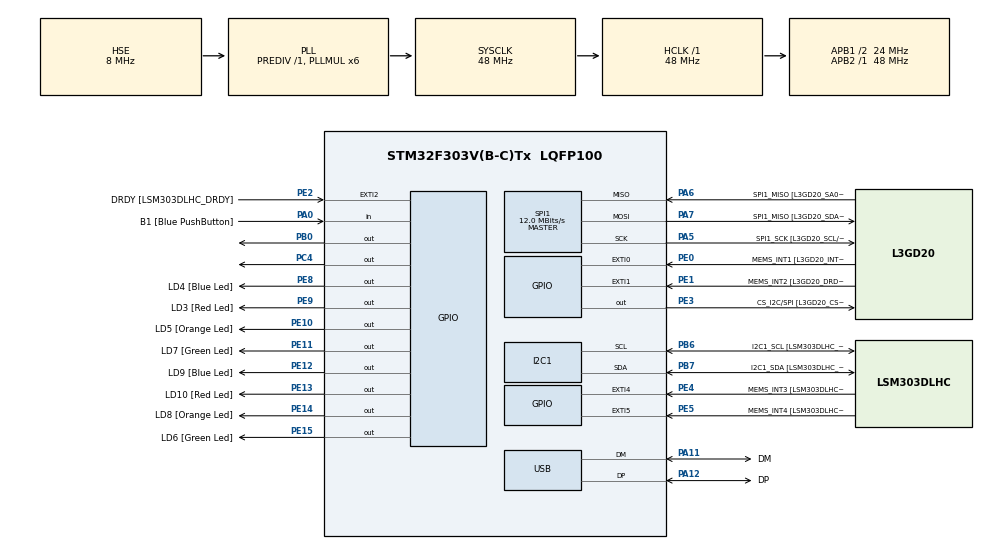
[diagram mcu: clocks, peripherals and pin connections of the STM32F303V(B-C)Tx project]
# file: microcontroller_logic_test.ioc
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I2C1.Timing=0x2000090E
I2C1.Timing-I2C=0x2000090E
Mcu.Family=STM32F3
Mcu.Name=STM32F303V(B-C)Tx
Mcu.Package=LQFP100
NVIC.PriorityGroup=NVIC_PRIORITYGROUP_0
NVIC.USB_LP_CAN_RX0_IRQn=true\:0\:0\:false\:false\:true\:false\:true\:true
PA0.GPIO_Label=B1 [Blue PushButton]
PA0.Signal=GPIO_Input
PA11.GPIO_Label=DM
PA11.Mode=Device
PA11.Signal=USB_DM
PA12.GPIO_Label=DP
PA12.Mode=Device
PA12.Signal=USB_DP
PA13.GPIO_Label=SWDIO
PA13.Mode=Serial_Wire
PA13.Signal=SYS_JTMS-SWDIO
PA14.GPIO_Label=SWCLK
PA14.Mode=Serial_Wire
PA14.Signal=SYS_JTCK-SWCLK
PA5.GPIO_Label=SPI1_SCK [L3GD20_SCL/SPC]
PA5.Mode=Full_Duplex_Master
PA5.Signal=SPI1_SCK
PA6.GPIO_Label=SPI1_MISO [L3GD20_SA0/SDO]
PA6.Mode=Full_Duplex_Master
PA6.Signal=SPI1_MISO
PA7.GPIO_Label=SPI1_MISO [L3GD20_SDA/SDI/SDO]
PA7.Mode=Full_Duplex_Master
PA7.Signal=SPI1_MOSI
PB0.Signal=GPIO_Output
PB3.GPIO_Label=SWO
PB3.Signal=SYS_JTDO-TRACESWO
PB6.GPIO_Label=I2C1_SCL [LSM303DLHC_SCL]
PB6.GPIO_Pu=GPIO_PULLUP
PB6.Mode=I2C
PB6.Signal=I2C1_SCL
PB7.GPIO_Label=I2C1_SDA [LSM303DLHC_SDA]
PB7.GPIO_Pu=GPIO_PULLUP
PB7.Mode=I2C
PB7.Signal=I2C1_SDA
PC14-OSC32_IN.GPIO_Label=OSC32_IN
PC14-OSC32_IN.Signal=RCC_OSC32_IN
PC15-OSC32_OUT.GPIO_Label=OSC32_OUT
PC15-OSC32_OUT.Signal=RCC_OSC32_OUT
PC4.Signal=GPIO_Output
PE0.GPIO_Label=MEMS_INT1 [L3GD20_INT1]
PE0.GPIO_ModeDefaultEXTI=GPIO_MODE_EVT_RISING
PE0.Signal=GPXTI0
PE1.GPIO_Label=MEMS_INT2 [L3GD20_DRDY/INT2]
PE1.GPIO_ModeDefaultEXTI=GPIO_MODE_EVT_RISING
PE1.Signal=GPXTI1
PE10.GPIO_Label=LD5 [Orange Led]
PE10.Signal=GPIO_Output
PE11.GPIO_Label=LD7 [Green Led]
PE11.Signal=GPIO_Output
PE12.GPIO_Label=LD9 [Blue Led]
PE12.Signal=GPIO_Output
PE13.GPIO_Label=LD10 [Red Led]
PE13.Signal=GPIO_Output
PE14.GPIO_Label=LD8 [Orange Led]
PE14.Signal=GPIO_Output
PE15.GPIO_Label=LD6 [Green Led]
PE15.Signal=GPIO_Output
PE2.GPIO_Label=DRDY [LSM303DLHC_DRDY]
PE2.GPIO_ModeDefaultEXTI=GPIO_MODE_EVT_RISING
PE2.Signal=GPXTI2
PE3.GPIO_Label=CS_I2C/SPI [L3GD20_CS_I2C/SPI]
PE3.Signal=GPIO_Output
PE4.GPIO_Label=MEMS_INT3 [LSM303DLHC_INT1]
PE4.GPIO_ModeDefaultEXTI=GPIO_MODE_EVT_RISING
PE4.Signal=GPXTI4
PE5.GPIO_Label=MEMS_INT4 [LSM303DLHC_INT2]
PE5.GPIO_ModeDefaultEXTI=GPIO_MODE_EVT_RISING
PE5.Signal=GPXTI5
PE8.GPIO_Label=LD4 [Blue Led]
PE8.Signal=GPIO_Output
PE9.GPIO_Label=LD3 [Red Led]
PE9.Signal=GPIO_Output
PF0-OSC_IN.GPIO_Label=OSC_IN
PF0-OSC_IN.Mode=HSE-External-Clock-Source
PF0-OSC_IN.Signal=RCC_OSC_IN
PF1-OSC_OUT.GPIO_Label=OSC_OUT
PF1-OSC_OUT.Signal=RCC_OSC_OUT
ProjectManager.HeapSize=0x200
ProjectManager.StackSize=0x400
ProjectManager.TargetToolchain=STM32CubeIDE
RCC.AHBFreq_Value=48000000
RCC.APB1CLKDivider=RCC_HCLK_DIV2
RCC.APB1Freq_Value=24000000
RCC.APB1TimFreq_Value=48000000
RCC.APB2Freq_Value=48000000
RCC.APB2TimFreq_Value=48000000
RCC.CortexFreq_Value=48000000
RCC.HCLKFreq_Value=48000000
RCC.HSE_VALUE=8000000
RCC.HSI_VALUE=8000000
RCC.LSE_VALUE=32768
RCC.PLLMUL=RCC_PLL_MUL6
RCC.SYSCLKFreq_VALUE=48000000
RCC.SYSCLKSourceVirtual=RCC_SYSCLKSOURCE_PLLCLK
RCC.USBFreq_Value=48000000
SPI1.BaudRatePrescaler=SPI_BAUDRATEPRESCALER_4
SPI1.BaudRatePrescaler-Full_Duplex_Master=SPI_BAUDRATEPRESCALER_2
SPI1.CalculateBaudRate=12.0 MBits/s
SPI1.CalculateBaudRate-Full_Duplex_Master=24.0 MBits/s
SPI1.Direction=SPI_DIRECTION_2LINES
SPI1.Mode=SPI_MODE_MASTER
SPI1.Mode-Full_Duplex_Master=SPI_MODE_MASTER
SPI1.VirtualType=VM_MASTER
USB_DEVICE.CLASS_NAME_FS=CDC
USB_DEVICE.VirtualMode=Cdc
USB_DEVICE.VirtualModeFS=Cdc_FS
VP_USB_DEVICE_VS_USB_DEVICE_CDC_FS.Mode=CDC_FS
board=STM32F3DISCOVERY

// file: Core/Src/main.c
/* USER CODE BEGIN Header */
/**
  ******************************************************************************
  * @file           : main.c
  * @brief          : Main program body
  ******************************************************************************
  * @attention
  *
  * Copyright (c) 2025 STMicroelectronics.
  * All rights reserved.
  *
  * This software is licensed under terms that can be found in the LICENSE file
  * in the root directory of this software component.
  * If no LICENSE file comes with this software, it is provided AS-IS.
  *
  ******************************************************************************
  */
/* USER CODE END Header */
#include "main.h"
#include "usb_device.h"

/* USER CODE BEGIN Includes */
#include "arm_fft.h"
#include "usbd_cdc_if.h"
/* USER CODE END Includes */

I2C_HandleTypeDef hi2c1;

SPI_HandleTypeDef hspi1;

/* USER CODE BEGIN PV */
extern uint8_t rx_buffer[128*105];
extern volatile uint8_t rx_complete;
extern volatile uint8_t metadati_completi;
/* USER CODE END PV */

void SystemClock_Config(void);
static void MX_GPIO_Init(void);
static void MX_I2C1_Init(void);
static void MX_SPI1_Init(void);

int main(void)
{

  /* MCU Configuration--------------------------------------------------------*/

  /* Reset of all peripherals, Initializes the Flash interface and the Systick. */
  HAL_Init();

  /* Configure the system clock */
  SystemClock_Config();

  /* Initialize all configured peripherals */
  MX_GPIO_Init();
  MX_I2C1_Init();
  MX_SPI1_Init();
  MX_USB_DEVICE_Init();
  /* USER CODE BEGIN 2 */

//  Complesso x[256][210];
//  uint8_t data[210][256];
//  Complesso X[256];
//  uint8_t metadati[8];
  uint8_t indici[128];
//  float magnitude[256];
  int32_t massimo = 0;
  int32_t minimo = 0;

  // led rosso che lampeggia -> Microcontrollore sta ricevendo i metdati
  while(metadati_completi == 0){
	  HAL_GPIO_WritePin(GPIOB, GPIO_PIN_0, GPIO_PIN_SET);
	  HAL_Delay(100);
	  HAL_GPIO_WritePin(GPIOB, GPIO_PIN_0, GPIO_PIN_RESET);
	  HAL_Delay(100);
  }

  // ottenimento informazioni massimo e minimo
  massimo = (int32_t)(rx_buffer[0] | rx_buffer[1]<<8 | rx_buffer[2]<<16 | rx_buffer[3]<<24);
  minimo = (int32_t)(rx_buffer[4] | rx_buffer[5]<<8 | rx_buffer[6]<<16 | rx_buffer[7]<<24);
  // led rosso fisso -> ricezione metadati avvenuta
  HAL_GPIO_WritePin(GPIOB, GPIO_PIN_0, GPIO_PIN_SET);

  // led blu che lampeggia -> Microcontrollore sta ricevendo i dati
	while(rx_complete == 0){
	  HAL_GPIO_WritePin(GPIOC, GPIO_PIN_4, GPIO_PIN_SET);
	  HAL_Delay(100);
	  HAL_GPIO_WritePin(GPIOC, GPIO_PIN_4, GPIO_PIN_RESET);
	  HAL_Delay(100);
	}
	HAL_GPIO_WritePin(GPIOC, GPIO_PIN_4, GPIO_PIN_SET);
	HAL_Delay(1000);

//	int k=0;
//	for(int i=0; i<210; i++){
//		for(int j=0; j<256; j++){
//			data[i][j] = rx_buffer[k]
//		}
//	}

	for(int j=0; j<105; j++){
		Complesso x[128];
		Complesso X[128];
		float magnitude[128];
		for(int i=0; i<128; i++){
			x[i].re = (float)(((rx_buffer[j*128+i]/255.0f) * (massimo-minimo)) + minimo);
			x[i].im = 0;
		}
		arm_fft(x,X,128);
		fft_to_spectrogram(X,magnitude, 128, -65.0f);
		for(int l=0; l<128; l++){
		  indici[l] = (uint8_t)(magnitude[l]*255);
		}
		CDC_Transmit_FS(indici, 128);
	}

  /* USER CODE END 2 */

  /* Infinite loop */
  while (1)
  {

    /* USER CODE BEGIN 3 */
	  HAL_GPIO_WritePin(GPIOB, GPIO_PIN_0, GPIO_PIN_SET);
	  HAL_GPIO_WritePin(GPIOC, GPIO_PIN_4, GPIO_PIN_SET);
	  HAL_Delay(1000);
	  HAL_GPIO_WritePin(GPIOB, GPIO_PIN_0, GPIO_PIN_RESET);
	  HAL_GPIO_WritePin(GPIOC, GPIO_PIN_4, GPIO_PIN_RESET);
	  HAL_Delay(1000);
  }
  /* USER CODE END 3 */
}

void SystemClock_Config(void)
{
  RCC_OscInitTypeDef RCC_OscInitStruct = {0};
  RCC_ClkInitTypeDef RCC_ClkInitStruct = {0};
  RCC_PeriphCLKInitTypeDef PeriphClkInit = {0};

  /** Initializes the RCC Oscillators according to the specified parameters
  * in the RCC_OscInitTypeDef structure.
  */
  RCC_OscInitStruct.OscillatorType = RCC_OSCILLATORTYPE_HSI|RCC_OSCILLATORTYPE_HSE;
  RCC_OscInitStruct.HSEState = RCC_HSE_BYPASS;
  RCC_OscInitStruct.HSEPredivValue = RCC_HSE_PREDIV_DIV1;
  RCC_OscInitStruct.HSIState = RCC_HSI_ON;
  RCC_OscInitStruct.HSICalibrationValue = RCC_HSICALIBRATION_DEFAULT;
  RCC_OscInitStruct.PLL.PLLState = RCC_PLL_ON;
  RCC_OscInitStruct.PLL.PLLSource = RCC_PLLSOURCE_HSE;
  RCC_OscInitStruct.PLL.PLLMUL = RCC_PLL_MUL6;
  if (HAL_RCC_OscConfig(&RCC_OscInitStruct) != HAL_OK)
  {
    Error_Handler();
  }

  /** Initializes the CPU, AHB and APB buses clocks
  */
  RCC_ClkInitStruct.ClockType = RCC_CLOCKTYPE_HCLK|RCC_CLOCKTYPE_SYSCLK
                              |RCC_CLOCKTYPE_PCLK1|RCC_CLOCKTYPE_PCLK2;
  RCC_ClkInitStruct.SYSCLKSource = RCC_SYSCLKSOURCE_PLLCLK;
  RCC_ClkInitStruct.AHBCLKDivider = RCC_SYSCLK_DIV1;
  RCC_ClkInitStruct.APB1CLKDivider = RCC_HCLK_DIV2;
  RCC_ClkInitStruct.APB2CLKDivider = RCC_HCLK_DIV1;

  if (HAL_RCC_ClockConfig(&RCC_ClkInitStruct, FLASH_LATENCY_1) != HAL_OK)
  {
    Error_Handler();
  }
  PeriphClkInit.PeriphClockSelection = RCC_PERIPHCLK_USB|RCC_PERIPHCLK_I2C1;
  PeriphClkInit.I2c1ClockSelection = RCC_I2C1CLKSOURCE_HSI;
  PeriphClkInit.USBClockSelection = RCC_USBCLKSOURCE_PLL;
  if (HAL_RCCEx_PeriphCLKConfig(&PeriphClkInit) != HAL_OK)
  {
    Error_Handler();
  }
}

static void MX_I2C1_Init(void)
{

  hi2c1.Instance = I2C1;
  hi2c1.Init.Timing = 0x2000090E;
  hi2c1.Init.OwnAddress1 = 0;
  hi2c1.Init.AddressingMode = I2C_ADDRESSINGMODE_7BIT;
  hi2c1.Init.DualAddressMode = I2C_DUALADDRESS_DISABLE;
  hi2c1.Init.OwnAddress2 = 0;
  hi2c1.Init.OwnAddress2Masks = I2C_OA2_NOMASK;
  hi2c1.Init.GeneralCallMode = I2C_GENERALCALL_DISABLE;
  hi2c1.Init.NoStretchMode = I2C_NOSTRETCH_DISABLE;
  if (HAL_I2C_Init(&hi2c1) != HAL_OK)
  {
    Error_Handler();
  }

  /** Configure Analogue filter
  */
  if (HAL_I2CEx_ConfigAnalogFilter(&hi2c1, I2C_ANALOGFILTER_ENABLE) != HAL_OK)
  {
    Error_Handler();
  }

  /** Configure Digital filter
  */
  if (HAL_I2CEx_ConfigDigitalFilter(&hi2c1, 0) != HAL_OK)
  {
    Error_Handler();
  }

}

static void MX_SPI1_Init(void)
{

  /* SPI1 parameter configuration*/
  hspi1.Instance = SPI1;
  hspi1.Init.Mode = SPI_MODE_MASTER;
  hspi1.Init.Direction = SPI_DIRECTION_2LINES;
  hspi1.Init.DataSize = SPI_DATASIZE_4BIT;
  hspi1.Init.CLKPolarity = SPI_POLARITY_LOW;
  hspi1.Init.CLKPhase = SPI_PHASE_1EDGE;
  hspi1.Init.NSS = SPI_NSS_SOFT;
  hspi1.Init.BaudRatePrescaler = SPI_BAUDRATEPRESCALER_4;
  hspi1.Init.FirstBit = SPI_FIRSTBIT_MSB;
  hspi1.Init.TIMode = SPI_TIMODE_DISABLE;
  hspi1.Init.CRCCalculation = SPI_CRCCALCULATION_DISABLE;
  hspi1.Init.CRCPolynomial = 7;
  hspi1.Init.CRCLength = SPI_CRC_LENGTH_DATASIZE;
  hspi1.Init.NSSPMode = SPI_NSS_PULSE_ENABLE;
  if (HAL_SPI_Init(&hspi1) != HAL_OK)
  {
    Error_Handler();
  }

}

static void MX_GPIO_Init(void)
{
  GPIO_InitTypeDef GPIO_InitStruct = {0};

  /* GPIO Ports Clock Enable */
  __HAL_RCC_GPIOE_CLK_ENABLE();
  __HAL_RCC_GPIOC_CLK_ENABLE();
  __HAL_RCC_GPIOF_CLK_ENABLE();
  __HAL_RCC_GPIOA_CLK_ENABLE();
  __HAL_RCC_GPIOB_CLK_ENABLE();

  /*Configure GPIO pin Output Level */
  HAL_GPIO_WritePin(GPIOE, CS_I2C_SPI_Pin|LD4_Pin|LD3_Pin|LD5_Pin
                          |LD7_Pin|LD9_Pin|LD10_Pin|LD8_Pin
                          |LD6_Pin, GPIO_PIN_RESET);

  /*Configure GPIO pin Output Level */
  HAL_GPIO_WritePin(GPIOC, GPIO_PIN_4, GPIO_PIN_RESET);

  /*Configure GPIO pin Output Level */
  HAL_GPIO_WritePin(GPIOB, GPIO_PIN_0, GPIO_PIN_RESET);

  /*Configure GPIO pins : DRDY_Pin MEMS_INT3_Pin MEMS_INT4_Pin MEMS_INT1_Pin
                           MEMS_INT2_Pin */
  GPIO_InitStruct.Pin = DRDY_Pin|MEMS_INT3_Pin|MEMS_INT4_Pin|MEMS_INT1_Pin
                          |MEMS_INT2_Pin;
  GPIO_InitStruct.Mode = GPIO_MODE_EVT_RISING;
  GPIO_InitStruct.Pull = GPIO_NOPULL;
  HAL_GPIO_Init(GPIOE, &GPIO_InitStruct);

  /*Configure GPIO pins : CS_I2C_SPI_Pin LD4_Pin LD3_Pin LD5_Pin
                           LD7_Pin LD9_Pin LD10_Pin LD8_Pin
                           LD6_Pin */
  GPIO_InitStruct.Pin = CS_I2C_SPI_Pin|LD4_Pin|LD3_Pin|LD5_Pin
                          |LD7_Pin|LD9_Pin|LD10_Pin|LD8_Pin
                          |LD6_Pin;
  GPIO_InitStruct.Mode = GPIO_MODE_OUTPUT_PP;
  GPIO_InitStruct.Pull = GPIO_NOPULL;
  GPIO_InitStruct.Speed = GPIO_SPEED_FREQ_LOW;
  HAL_GPIO_Init(GPIOE, &GPIO_InitStruct);

  /*Configure GPIO pin : B1_Pin */
  GPIO_InitStruct.Pin = B1_Pin;
  GPIO_InitStruct.Mode = GPIO_MODE_INPUT;
  GPIO_InitStruct.Pull = GPIO_NOPULL;
  HAL_GPIO_Init(B1_GPIO_Port, &GPIO_InitStruct);

  /*Configure GPIO pin : PC4 */
  GPIO_InitStruct.Pin = GPIO_PIN_4;
  GPIO_InitStruct.Mode = GPIO_MODE_OUTPUT_PP;
  GPIO_InitStruct.Pull = GPIO_NOPULL;
  GPIO_InitStruct.Speed = GPIO_SPEED_FREQ_LOW;
  HAL_GPIO_Init(GPIOC, &GPIO_InitStruct);

  /*Configure GPIO pin : PB0 */
  GPIO_InitStruct.Pin = GPIO_PIN_0;
  GPIO_InitStruct.Mode = GPIO_MODE_OUTPUT_PP;
  GPIO_InitStruct.Pull = GPIO_NOPULL;
  GPIO_InitStruct.Speed = GPIO_SPEED_FREQ_LOW;
  HAL_GPIO_Init(GPIOB, &GPIO_InitStruct);

}

void Error_Handler(void)
{
  __disable_irq();
  while (1)
  {
  }
}
